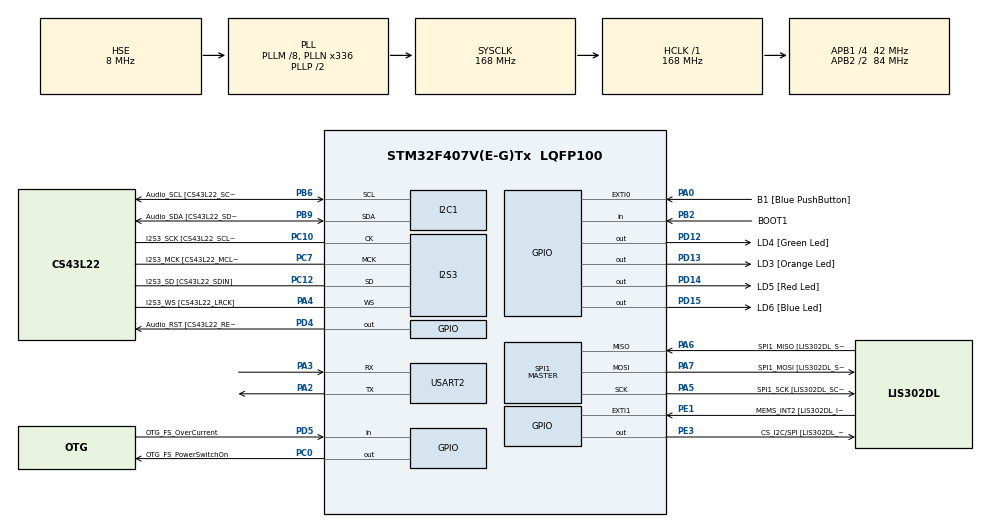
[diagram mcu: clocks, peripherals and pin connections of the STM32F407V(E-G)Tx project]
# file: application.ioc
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I2S3.AudioFreq-Half_Duplex_Master=I2S_AUDIOFREQ_96K
I2S3.ErrorAudioFreq=-2.34 %
I2S3.ErrorAudioFreq-Half_Duplex_Master=0.8 %
I2S3.FullDuplexMode=I2S_FULLDUPLEXMODE_DISABLE
I2S3.Instance=SPI$Index
I2S3.RealAudioFreq=93.75 KHz
I2S3.RealAudioFreq-Half_Duplex_Master=96.774 KHz
I2S3.VirtualMode=I2S_MODE_MASTER
Mcu.Family=STM32F4
Mcu.Name=STM32F407V(E-G)Tx
Mcu.Package=LQFP100
NVIC.EXTI0_IRQn=true\:0\:0\:false\:false\:true\:true\:true\:true
NVIC.HASH_RNG_IRQn=true\:0\:0\:false\:false\:true\:true\:true\:true
NVIC.PriorityGroup=NVIC_PRIORITYGROUP_0
PA0-WKUP.GPIO_Label=B1 [Blue PushButton]
PA0-WKUP.GPIO_ModeDefaultEXTI=GPIO_MODE_IT_RISING
PA0-WKUP.GPIO_PuPd=GPIO_NOPULL
PA0-WKUP.Signal=GPXTI0
PA10.GPIO_Label=OTG_FS_ID
PA10.GPIO_Mode=GPIO_MODE_AF_PP
PA10.GPIO_PuPd=GPIO_NOPULL
PA10.GPIO_Speed=GPIO_SPEED_FREQ_LOW
PA10.Signal=USB_OTG_FS_ID
PA11.GPIO_Label=OTG_FS_DM
PA11.GPIO_Mode=GPIO_MODE_AF_PP
PA11.GPIO_PuPd=GPIO_NOPULL
PA11.GPIO_Speed=GPIO_SPEED_FREQ_LOW
PA11.Signal=USB_OTG_FS_DM
PA12.GPIO_Label=OTG_FS_DP
PA12.GPIO_Mode=GPIO_MODE_AF_PP
PA12.GPIO_PuPd=GPIO_NOPULL
PA12.GPIO_Speed=GPIO_SPEED_FREQ_LOW
PA12.Signal=USB_OTG_FS_DP
PA13.GPIO_Label=SWDIO
PA13.Mode=Serial_Wire
PA13.Signal=SYS_JTMS-SWDIO
PA14.GPIO_Label=SWCLK
PA14.Mode=Serial_Wire
PA14.Signal=SYS_JTCK-SWCLK
PA2.Mode=Asynchronous
PA2.Signal=USART2_TX
PA3.Mode=Asynchronous
PA3.Signal=USART2_RX
PA4.GPIO_Label=I2S3_WS [CS43L22_LRCK]
PA4.GPIO_Mode=GPIO_MODE_AF_PP
PA4.GPIO_PuPd=GPIO_NOPULL
PA4.GPIO_Speed=GPIO_SPEED_FREQ_LOW
PA4.Mode=Half_Duplex_Master
PA4.Signal=I2S3_WS
PA5.GPIO_Label=SPI1_SCK [LIS302DL_SCL/SPC]
PA5.GPIO_Mode=GPIO_MODE_AF_PP
PA5.GPIO_PuPd=GPIO_NOPULL
PA5.GPIO_Speed=GPIO_SPEED_FREQ_LOW
PA5.Mode=Full_Duplex_Master
PA5.Signal=SPI1_SCK
PA6.GPIO_Label=SPI1_MISO [LIS302DL_SDO]
PA6.GPIO_Mode=GPIO_MODE_AF_PP
PA6.GPIO_PuPd=GPIO_NOPULL
PA6.GPIO_Speed=GPIO_SPEED_FREQ_LOW
PA6.Mode=Full_Duplex_Master
PA6.Signal=SPI1_MISO
PA7.GPIO_Label=SPI1_MOSI [LIS302DL_SDA/SDI/SDO]
PA7.GPIO_Mode=GPIO_MODE_AF_PP
PA7.GPIO_PuPd=GPIO_NOPULL
PA7.GPIO_Speed=GPIO_SPEED_FREQ_LOW
PA7.Mode=Full_Duplex_Master
PA7.Signal=SPI1_MOSI
PA9.GPIO_Label=VBUS_FS
PA9.GPIO_Mode=GPIO_MODE_INPUT
PA9.GPIO_PuPd=GPIO_NOPULL
PA9.Signal=USB_OTG_FS_VBUS
PB10.GPIO_Label=CLK_IN [MP45DT02_CLK]
PB10.GPIO_Mode=GPIO_MODE_AF_PP
PB10.GPIO_PuPd=GPIO_NOPULL
PB10.GPIO_Speed=GPIO_SPEED_FREQ_LOW
PB10.Signal=I2S2_CK
PB2.GPIO_Label=BOOT1
PB2.GPIO_Mode=GPIO_MODE_INPUT
PB2.GPIO_PuPd=GPIO_NOPULL
PB2.Signal=GPIO_Input
PB3.GPIO_Label=SWO
PB3.Signal=SYS_JTDO-SWO
PB6.GPIO_Label=Audio_SCL [CS43L22_SCL]
PB6.GPIO_Mode=GPIO_MODE_AF_OD
PB6.GPIO_Pu=GPIO_PULLUP
PB6.GPIO_PuPd=GPIO_NOPULL
PB6.GPIO_Speed=GPIO_SPEED_FREQ_LOW
PB6.Mode=I2C
PB6.Signal=I2C1_SCL
PB9.GPIO_Label=Audio_SDA [CS43L22_SDA]
PB9.GPIO_Mode=GPIO_MODE_AF_OD
PB9.GPIO_Pu=GPIO_PULLUP
PB9.GPIO_PuPd=GPIO_NOPULL
PB9.GPIO_Speed=GPIO_SPEED_FREQ_LOW
PB9.Mode=I2C
PB9.Signal=I2C1_SDA
PC0.GPIO_Label=OTG_FS_PowerSwitchOn
PC0.GPIO_PuPd=GPIO_NOPULL
PC0.GPIO_Speed=GPIO_SPEED_FREQ_LOW
PC0.PinState=GPIO_PIN_SET
PC0.Signal=GPIO_Output
PC10.GPIO_Label=I2S3_SCK [CS43L22_SCLK]
PC10.GPIO_Mode=GPIO_MODE_AF_PP
PC10.GPIO_PuPd=GPIO_NOPULL
PC10.GPIO_Speed=GPIO_SPEED_FREQ_LOW
PC10.Mode=Half_Duplex_Master
PC10.Signal=I2S3_CK
PC12.GPIO_Label=I2S3_SD [CS43L22_SDIN]
PC12.GPIO_Mode=GPIO_MODE_AF_PP
PC12.GPIO_PuPd=GPIO_NOPULL
PC12.GPIO_Speed=GPIO_SPEED_FREQ_LOW
PC12.Mode=Half_Duplex_Master
PC12.Signal=I2S3_SD
PC14-OSC32_IN.GPIO_Label=PC14-OSC32_IN
PC14-OSC32_IN.Mode=LSE-External-Oscillator
PC14-OSC32_IN.Signal=RCC_OSC32_IN
PC15-OSC32_OUT.GPIO_Label=PC15-OSC32_OUT
PC15-OSC32_OUT.Mode=LSE-External-Oscillator
PC15-OSC32_OUT.Signal=RCC_OSC32_OUT
PC3.GPIO_Label=PDM_OUT [MP45DT02_DOUT]
PC3.GPIO_Mode=GPIO_MODE_AF_PP
PC3.GPIO_PuPd=GPIO_NOPULL
PC3.GPIO_Speed=GPIO_SPEED_FREQ_LOW
PC3.Signal=I2S2_SD
PC7.GPIO_Label=I2S3_MCK [CS43L22_MCLK]
PC7.GPIO_Mode=GPIO_MODE_AF_PP
PC7.GPIO_PuPd=GPIO_NOPULL
PC7.GPIO_Speed=GPIO_SPEED_FREQ_LOW
PC7.Mode=Master_Clock_Activated
PC7.Signal=I2S3_MCK
PD12.GPIO_Label=LD4 [Green Led]
PD12.GPIO_PuPd=GPIO_NOPULL
PD12.GPIO_Speed=GPIO_SPEED_FREQ_LOW
PD12.Signal=GPIO_Output
PD13.GPIO_Label=LD3 [Orange Led]
PD13.GPIO_PuPd=GPIO_NOPULL
PD13.GPIO_Speed=GPIO_SPEED_FREQ_LOW
PD13.Signal=GPIO_Output
PD14.GPIO_Label=LD5 [Red Led]
PD14.GPIO_PuPd=GPIO_NOPULL
PD14.GPIO_Speed=GPIO_SPEED_FREQ_LOW
PD14.Signal=GPIO_Output
PD15.GPIO_Label=LD6 [Blue Led]
PD15.GPIO_PuPd=GPIO_NOPULL
PD15.GPIO_Speed=GPIO_SPEED_FREQ_LOW
PD15.Signal=GPIO_Output
PD4.GPIO_Label=Audio_RST [CS43L22_RESET]
PD4.GPIO_PuPd=GPIO_NOPULL
PD4.GPIO_Speed=GPIO_SPEED_FREQ_LOW
PD4.Signal=GPIO_Output
PD5.GPIO_Label=OTG_FS_OverCurrent
PD5.GPIO_Mode=GPIO_MODE_INPUT
PD5.GPIO_PuPd=GPIO_NOPULL
PD5.Signal=GPIO_Input
PE1.GPIO_Label=MEMS_INT2 [LIS302DL_INT2]
PE1.GPIO_ModeDefaultEXTI=GPIO_MODE_EVT_RISING
PE1.GPIO_PuPd=GPIO_NOPULL
PE1.Signal=GPXTI1
PE3.GPIO_Label=CS_I2C/SPI [LIS302DL_CS_I2C/SPI]
PE3.GPIO_PuPd=GPIO_NOPULL
PE3.GPIO_Speed=GPIO_SPEED_FREQ_LOW
PE3.Signal=GPIO_Output
PH0-OSC_IN.GPIO_Label=PH0-OSC_IN
PH0-OSC_IN.Mode=HSE-External-Oscillator
PH0-OSC_IN.Signal=RCC_OSC_IN
PH1-OSC_OUT.GPIO_Label=PH1-OSC_OUT
PH1-OSC_OUT.Mode=HSE-External-Oscillator
PH1-OSC_OUT.Signal=RCC_OSC_OUT
ProjectManager.HeapSize=0x200
ProjectManager.StackSize=0x400
ProjectManager.TargetToolchain=STM32CubeIDE
RCC.48MHZClocksFreq_Value=48000000
RCC.AHBFreq_Value=168000000
RCC.APB1CLKDivider=RCC_HCLK_DIV4
RCC.APB1Freq_Value=42000000
RCC.APB1TimFreq_Value=84000000
RCC.APB2CLKDivider=RCC_HCLK_DIV2
RCC.APB2Freq_Value=84000000
RCC.APB2TimFreq_Value=168000000
RCC.CortexFreq_Value=168000000
RCC.HCLKFreq_Value=168000000
RCC.HSE_VALUE=8000000
RCC.HSI_VALUE=16000000
RCC.PLLM=8
RCC.PLLN=336
RCC.PLLQ=7
RCC.PLLSourceVirtual=RCC_PLLSOURCE_HSE
RCC.SYSCLKFreq_VALUE=168000000
RCC.SYSCLKSource=RCC_SYSCLKSOURCE_PLLCLK
RCC.VCOOutputFreq_Value=336000000
SPI1.BaudRatePrescaler-Full_Duplex_Master=SPI_BAUDRATEPRESCALER_2
SPI1.CalculateBaudRate-Full_Duplex_Master=42.0 MBits/s
SPI1.Direction=SPI_DIRECTION_2LINES
SPI1.Mode=SPI_MODE_MASTER
SPI1.Mode-Full_Duplex_Master=SPI_MODE_MASTER
SPI1.VirtualType=VM_MASTER
USART2.VirtualMode=VM_ASYNC
VP_CRC_VS_CRC.Mode=CRC_Activate
VP_RNG_VS_RNG.Mode=RNG_Activate
board=STM32F407G-DISC1

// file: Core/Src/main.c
/* USER CODE BEGIN Header */
/**
  ******************************************************************************
  * @file           : main.c
  * @brief          : Main program body
  ******************************************************************************
  * @attention
  *
  * Copyright (c) 2026 STMicroelectronics.
  * All rights reserved.
  *
  * This software is licensed under terms that can be found in the LICENSE file
  * in the root directory of this software component.
  * If no LICENSE file comes with this software, it is provided AS-IS.
  *
  ******************************************************************************
  */
/* USER CODE END Header */
#include "main.h"
#include "crc.h"
#include "i2c.h"
#include "i2s.h"
#include "rng.h"
#include "spi.h"
#include "usart.h"
#include "gpio.h"

/* USER CODE BEGIN Includes */
#include <stdio.h>
#include "app_data.h"
/* USER CODE END Includes */

/* USER CODE BEGIN PV */
static volatile uint32_t reset_flag = 0;
/* USER CODE END PV */

void SystemClock_Config(void);

/* USER CODE BEGIN 0 */
__attribute__((section(".HEADER_DATA"), used))
const image_header_t image_header =
{
	.fwVersion  = 123,
    .imageMagic = 0xDEADFEED,
};

void setup_vtor()
{
	extern uint32_t __isr_vector_start__;
	SCB->VTOR = (uint32_t)&__isr_vector_start__;
}

_Static_assert(sizeof(image_header_t) <= 256,
               "image_header_t too large");
/* USER CODE END 0 */

int main(void)
{

  /* MCU Configuration--------------------------------------------------------*/

  /* Reset of all peripherals, Initializes the Flash interface and the Systick. */
  HAL_Init();

  /* Configure the system clock */
  SystemClock_Config();

  /* USER CODE BEGIN SysInit */
  if( __get_PRIMASK() == 1)
    {
  	  __enable_irq();
    }
  /* USER CODE END SysInit */

  /* Initialize all configured peripherals */
  MX_GPIO_Init();
  MX_I2C1_Init();
  MX_I2S3_Init();
  MX_SPI1_Init();
  MX_CRC_Init();
  MX_RNG_Init();
  MX_USART2_UART_Init();
  /* USER CODE BEGIN 2 */

  printf("Running Application Mainloop \r\n");

  /* USER CODE END 2 */

  /* Infinite loop */
  /* USER CODE BEGIN WHILE */
  while (1)
  {
	  HAL_GPIO_TogglePin(LD4_GPIO_Port,LD4_Pin);

	  if(reset_flag == 1)
	  {
		  printf("Issuing system reset \r\n");
		  NVIC_SystemReset();
	  }
	  else
	  {
		  HAL_Delay(1000);
	  }
    /* USER CODE END WHILE */

  }
}

void SystemClock_Config(void)
{
  RCC_OscInitTypeDef RCC_OscInitStruct = {0};
  RCC_ClkInitTypeDef RCC_ClkInitStruct = {0};

  /** Configure the main internal regulator output voltage
  */
  __HAL_RCC_PWR_CLK_ENABLE();
  __HAL_PWR_VOLTAGESCALING_CONFIG(PWR_REGULATOR_VOLTAGE_SCALE1);

  /** Initializes the RCC Oscillators according to the specified parameters
  * in the RCC_OscInitTypeDef structure.
  */
  RCC_OscInitStruct.OscillatorType = RCC_OSCILLATORTYPE_HSE;
  RCC_OscInitStruct.HSEState = RCC_HSE_ON;
  RCC_OscInitStruct.PLL.PLLState = RCC_PLL_ON;
  RCC_OscInitStruct.PLL.PLLSource = RCC_PLLSOURCE_HSE;
  RCC_OscInitStruct.PLL.PLLM = 8;
  RCC_OscInitStruct.PLL.PLLN = 336;
  RCC_OscInitStruct.PLL.PLLP = RCC_PLLP_DIV2;
  RCC_OscInitStruct.PLL.PLLQ = 7;
  if (HAL_RCC_OscConfig(&RCC_OscInitStruct) != HAL_OK)
  {
    Error_Handler();
  }

  /** Initializes the CPU, AHB and APB buses clocks
  */
  RCC_ClkInitStruct.ClockType = RCC_CLOCKTYPE_HCLK|RCC_CLOCKTYPE_SYSCLK
                              |RCC_CLOCKTYPE_PCLK1|RCC_CLOCKTYPE_PCLK2;
  RCC_ClkInitStruct.SYSCLKSource = RCC_SYSCLKSOURCE_PLLCLK;
  RCC_ClkInitStruct.AHBCLKDivider = RCC_SYSCLK_DIV1;
  RCC_ClkInitStruct.APB1CLKDivider = RCC_HCLK_DIV4;
  RCC_ClkInitStruct.APB2CLKDivider = RCC_HCLK_DIV2;

  if (HAL_RCC_ClockConfig(&RCC_ClkInitStruct, FLASH_LATENCY_5) != HAL_OK)
  {
    Error_Handler();
  }
}

/* USER CODE BEGIN 4 */
void HAL_GPIO_EXTI_Callback(uint16_t GPIO_Pin)
{
  /* Prevent unused argument(s) compilation warning */
  UNUSED(GPIO_Pin);
  reset_flag = 1;
  /* NOTE: This function Should not be modified, when the callback is needed,
           the HAL_GPIO_EXTI_Callback could be implemented in the user file
   */
}
/* USER CODE END 4 */

void Error_Handler(void)
{
  __disable_irq();
  while (1)
  {
  }
}
